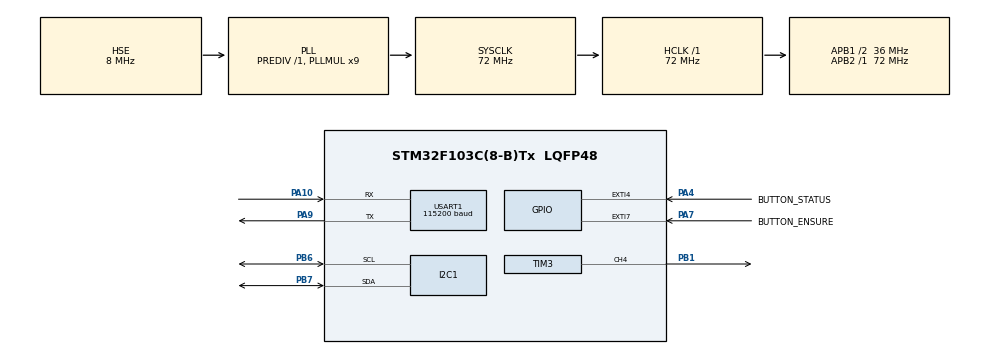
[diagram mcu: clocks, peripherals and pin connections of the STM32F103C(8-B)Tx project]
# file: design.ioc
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Dma.Request0=USART1_RX
Dma.Request1=USART1_TX
Dma.USART1_RX.0.Direction=DMA_PERIPH_TO_MEMORY
Dma.USART1_RX.0.Instance=DMA1_Channel5
Dma.USART1_RX.0.MemDataAlignment=DMA_MDATAALIGN_BYTE
Dma.USART1_RX.0.MemInc=DMA_MINC_ENABLE
Dma.USART1_RX.0.Mode=DMA_NORMAL
Dma.USART1_RX.0.PeriphDataAlignment=DMA_PDATAALIGN_BYTE
Dma.USART1_RX.0.PeriphInc=DMA_PINC_DISABLE
Dma.USART1_RX.0.Priority=DMA_PRIORITY_LOW
Dma.USART1_TX.1.Direction=DMA_MEMORY_TO_PERIPH
Dma.USART1_TX.1.Instance=DMA1_Channel4
Dma.USART1_TX.1.MemDataAlignment=DMA_MDATAALIGN_BYTE
Dma.USART1_TX.1.MemInc=DMA_MINC_ENABLE
Dma.USART1_TX.1.Mode=DMA_NORMAL
Dma.USART1_TX.1.PeriphDataAlignment=DMA_PDATAALIGN_BYTE
Dma.USART1_TX.1.PeriphInc=DMA_PINC_DISABLE
Dma.USART1_TX.1.Priority=DMA_PRIORITY_LOW
I2C1.I2C_Mode=I2C_Fast
Mcu.Family=STM32F1
Mcu.Name=STM32F103C(8-B)Tx
Mcu.Package=LQFP48
NVIC.DMA1_Channel4_IRQn=true\:0\:0\:false\:false\:true\:false\:true\:true
NVIC.DMA1_Channel5_IRQn=true\:0\:0\:false\:false\:true\:false\:true\:true
NVIC.EXTI4_IRQn=true\:15\:0\:true\:false\:true\:true\:true\:true
NVIC.EXTI9_5_IRQn=true\:15\:0\:true\:false\:true\:true\:true\:true
NVIC.I2C1_ER_IRQn=true\:0\:0\:false\:false\:true\:true\:true\:true
NVIC.I2C1_EV_IRQn=true\:0\:0\:false\:false\:true\:true\:true\:true
NVIC.PriorityGroup=NVIC_PRIORITYGROUP_4
NVIC.TIM2_IRQn=true\:0\:0\:false\:false\:true\:true\:true\:true
NVIC.TIM3_IRQn=true\:0\:0\:false\:false\:true\:true\:true\:true
NVIC.USART1_IRQn=true\:0\:0\:false\:false\:true\:true\:true\:true
PA10.Mode=Asynchronous
PA10.Signal=USART1_RX
PA13.Mode=Serial_Wire
PA13.Signal=SYS_JTMS-SWDIO
PA14.Mode=Serial_Wire
PA14.Signal=SYS_JTCK-SWCLK
PA4.GPIO_Label=BUTTON_STATUS
PA4.GPIO_ModeDefaultEXTI=GPIO_MODE_IT_FALLING
PA4.GPIO_PuPd=GPIO_PULLUP
PA4.Signal=GPXTI4
PA7.GPIO_Label=BUTTON_ENSURE
PA7.GPIO_ModeDefaultEXTI=GPIO_MODE_IT_FALLING
PA7.GPIO_PuPd=GPIO_PULLUP
PA7.Signal=GPXTI7
PA9.Mode=Asynchronous
PA9.Signal=USART1_TX
PB1.Signal=S_TIM3_CH4
PB6.Mode=I2C
PB6.Signal=I2C1_SCL
PB7.Mode=I2C
PB7.Signal=I2C1_SDA
PD0-OSC_IN.Mode=HSE-External-Oscillator
PD0-OSC_IN.Signal=RCC_OSC_IN
PD1-OSC_OUT.Mode=HSE-External-Oscillator
PD1-OSC_OUT.Signal=RCC_OSC_OUT
ProjectManager.HeapSize=0x200
ProjectManager.StackSize=0x400
ProjectManager.TargetToolchain=STM32CubeIDE
RCC.AHBFreq_Value=72000000
RCC.APB1CLKDivider=RCC_HCLK_DIV2
RCC.APB1Freq_Value=36000000
RCC.APB1TimFreq_Value=72000000
RCC.APB2Freq_Value=72000000
RCC.APB2TimFreq_Value=72000000
RCC.HCLKFreq_Value=72000000
RCC.PLLMUL=RCC_PLL_MUL9
RCC.PLLSourceVirtual=RCC_PLLSOURCE_HSE
RCC.SYSCLKFreq_VALUE=72000000
RCC.SYSCLKSource=RCC_SYSCLKSOURCE_PLLCLK
RCC.USBFreq_Value=72000000
SH.S_TIM3_CH4.0=TIM3_CH4,PWM Generation4 CH4
TIM2.Period=19
TIM2.Prescaler=35999
TIM3.Channel-PWM\ Generation4\ CH4=TIM_CHANNEL_4
TIM3.Period=1999
TIM3.Prescaler=599
USART1.BaudRate=115200
USART1.Parity=PARITY_NONE
USART1.VirtualMode=VM_ASYNC
VP_TIM2_VS_ClockSourceINT.Mode=Internal
board=custom

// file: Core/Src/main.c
/* USER CODE BEGIN Header */
/**
 ******************************************************************************
 * @file           : main.c
 * @brief          : Main program body
 ******************************************************************************
 * @attention
 *
 * Copyright (c) 2023 STMicroelectronics.
 * All rights reserved.
 *
 * This software is licensed under terms that can be found in the LICENSE file
 * in the root directory of this software component.
 * If no LICENSE file comes with this software, it is provided AS-IS.
 *
 ******************************************************************************
 */
/* USER CODE END Header */
#include "main.h"
#include "dma.h"
#include "i2c.h"
#include "tim.h"
#include "usart.h"
#include "gpio.h"

/* USER CODE BEGIN Includes */
#include <string.h>
#include <stdio.h>
#include <math.h>
#include "aht20.h"
#include "oled.h"
#include "display.h"
/* USER CODE END Includes */

/* USER CODE BEGIN PV */
uint8_t cur_status = 1;
uint8_t status_inside = FALSE;

uint8_t hour = 0;
uint8_t minute = 0;
uint8_t second = 0;
uint8_t millisecond = 0;
uint8_t T_minute = 0;
uint8_t T_second = 0;
uint8_t T_millisecond = 0;
uint8_t T_isopen = FALSE;
uint8_t A_isopen = FALSE;
uint8_t A_count = 0;
uint8_t C_hour = 0;
uint8_t C_minute = 0;
uint8_t C_second = 0;
char message[30];
char time[20];
/* USER CODE END PV */

void SystemClock_Config(void);

/* USER CODE BEGIN 0 */
void HAL_TIM_PeriodElapsedCallback(TIM_HandleTypeDef *htim)
{
  if (htim == &htim2)
  {
    millisecond++;
    if (T_isopen)
    {
      T_millisecond++;
      if (T_millisecond == 100)
      {
        T_second++;
        T_millisecond = 0;
        if (T_second == 60)
        {
          T_minute++;
          T_second = 0;
          if (T_minute == 100)
          {
            T_minute = 0;
          }
        }
      }
    }
    if (millisecond == 100)
    {
      second++;
      millisecond = 0;
      if (second == 60)
      {
        minute++;
        second = 0;
        if (minute == 60)
        {
          hour++;
          minute = 0;
          if (hour == 24)
          {
            hour = 0;
          }
        }
      }
    }
  }
  else if (htim == &htim3)
  {
    static uint8_t x = 50;
    static uint8_t cc = 50;
    uint16_t y = pow(1.1, fabs(x - cc)) * (2000.0 / pow(1.1, cc - 1));
    __HAL_TIM_SET_COMPARE(&htim3, TIM_CHANNEL_4, y);
    if (++x == 2 * cc)
    {
      x = 0;
    }
  }
}
char fail[] = "notice: hh:mm:ss";
char success[] = "success!";
void HAL_UARTEx_RxEventCallback(UART_HandleTypeDef *huart, uint16_t Size)
{
  if (huart == &huart1)
  {
    if (Size == 8)
    {
      C_hour = (time[0] - '0') * 10 + (time[1] - '0');
      C_minute = (time[3] - '0') * 10 + (time[4] - '0');
      C_second = (time[6] - '0') * 10 + (time[7] - '0');
      HAL_UART_Transmit_DMA(&huart1, (uint8_t *)success, strlen(success));
    }
    else
    {
      HAL_UART_Transmit_DMA(&huart1, (uint8_t *)fail, strlen(fail));
    }
    HAL_UARTEx_ReceiveToIdle_DMA(&huart1, (uint8_t *)&time, sizeof(time) / sizeof(char));
  }
}

/* USER CODE END 0 */

int main(void)
{

  /* MCU Configuration--------------------------------------------------------*/

  /* Reset of all peripherals, Initializes the Flash interface and the Systick. */
  HAL_Init();

  /* Configure the system clock */
  SystemClock_Config();

  /* Initialize all configured peripherals */
  MX_GPIO_Init();
  MX_DMA_Init();
  MX_I2C1_Init();
  MX_TIM2_Init();
  MX_TIM3_Init();
  MX_USART1_UART_Init();
  /* USER CODE BEGIN 2 */
  // 初始化
  {
    aht20_init();
    HAL_TIM_Base_Start_IT(&htim2);
    HAL_TIM_Base_Start_IT(&htim3);
    HAL_Delay(20);
    HAL_TIM_PWM_Start(&htim3, TIM_CHANNEL_4);
    OLED_Init();
    HAL_UARTEx_ReceiveToIdle_DMA(&huart1, (uint8_t *)&time, sizeof(time) / sizeof(char));
  }
  // 开机动画
  {
    OLED_NewFrame();
    OLED_DrawImage(0, 0, &xcuImg, OLED_COLOR_NORMAL);
    OLED_ShowFrame();
    HAL_Delay(1000);
  }
  /* USER CODE END 2 */

  /* Infinite loop */
  /* USER CODE BEGIN WHILE */
  while (1)
  {
    // OLED_Init();
    if (status_inside)
    {
      switch (cur_status)
      {
      case MESU_MAIN_PAGE:
        oled_disfunc_temperatureANDhumidity();
        break;
      case MESU_CURRENT_TIME:
        oled_disfunc_time(CUR_TIME, &hour, &minute, &second);
        break;
      case MESU_TIMER:
        oled_disfunc_time(TIMER, &T_minute, &T_second, &T_millisecond);
        break;
      case MESU_AUTHOR_INFO:
        oled_disfunc_authorInfo();
        break;
      default:
        break;
      }
    }
    else
    {
      switch (cur_status)
      {
      case MESU_MAIN_PAGE:
        oled_display_mainPage();
        break;
      case MESU_CURRENT_TIME:
        oled_display_curTime();
        break;
      case MESU_TIMER:
        oled_display_timer();
        break;
      case MESU_AUTHOR_INFO:
        oled_display_authorInfo();
        break;
      default:
        break;
      }
    }
    /* USER CODE END WHILE */

  }
}

void SystemClock_Config(void)
{
  RCC_OscInitTypeDef RCC_OscInitStruct = {0};
  RCC_ClkInitTypeDef RCC_ClkInitStruct = {0};

  /** Initializes the RCC Oscillators according to the specified parameters
  * in the RCC_OscInitTypeDef structure.
  */
  RCC_OscInitStruct.OscillatorType = RCC_OSCILLATORTYPE_HSE;
  RCC_OscInitStruct.HSEState = RCC_HSE_ON;
  RCC_OscInitStruct.HSEPredivValue = RCC_HSE_PREDIV_DIV1;
  RCC_OscInitStruct.HSIState = RCC_HSI_ON;
  RCC_OscInitStruct.PLL.PLLState = RCC_PLL_ON;
  RCC_OscInitStruct.PLL.PLLSource = RCC_PLLSOURCE_HSE;
  RCC_OscInitStruct.PLL.PLLMUL = RCC_PLL_MUL9;
  if (HAL_RCC_OscConfig(&RCC_OscInitStruct) != HAL_OK)
  {
    Error_Handler();
  }

  /** Initializes the CPU, AHB and APB buses clocks
  */
  RCC_ClkInitStruct.ClockType = RCC_CLOCKTYPE_HCLK|RCC_CLOCKTYPE_SYSCLK
                              |RCC_CLOCKTYPE_PCLK1|RCC_CLOCKTYPE_PCLK2;
  RCC_ClkInitStruct.SYSCLKSource = RCC_SYSCLKSOURCE_PLLCLK;
  RCC_ClkInitStruct.AHBCLKDivider = RCC_SYSCLK_DIV1;
  RCC_ClkInitStruct.APB1CLKDivider = RCC_HCLK_DIV2;
  RCC_ClkInitStruct.APB2CLKDivider = RCC_HCLK_DIV1;

  if (HAL_RCC_ClockConfig(&RCC_ClkInitStruct, FLASH_LATENCY_2) != HAL_OK)
  {
    Error_Handler();
  }
}

void Error_Handler(void)
{
  __disable_irq();
  while (1)
  {
  }
}
